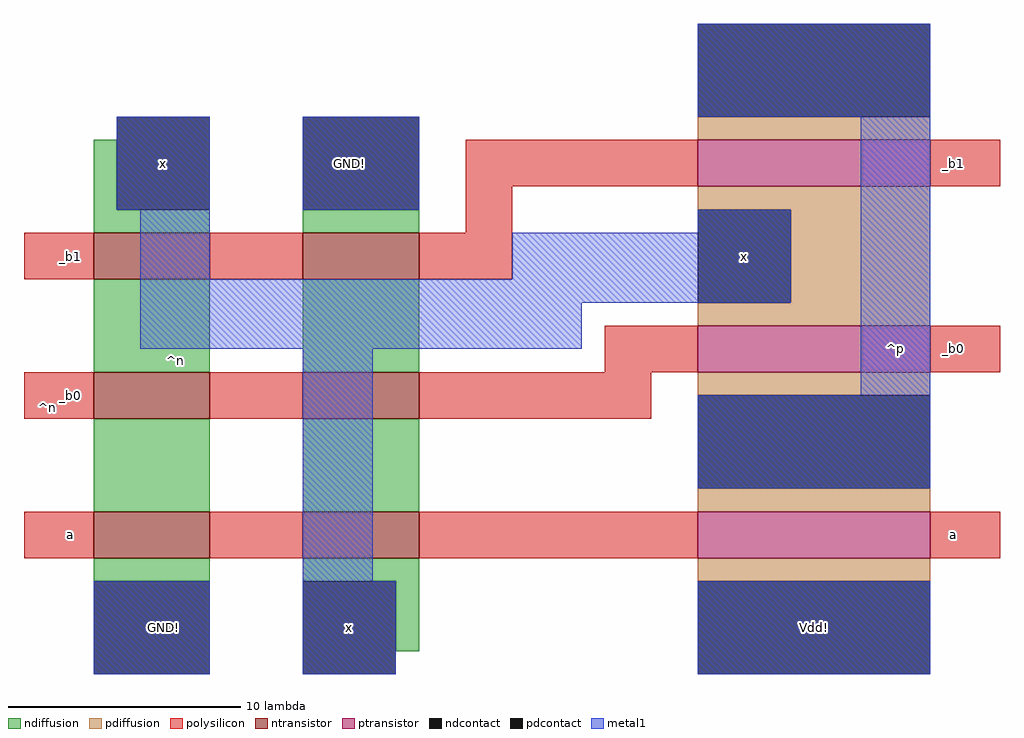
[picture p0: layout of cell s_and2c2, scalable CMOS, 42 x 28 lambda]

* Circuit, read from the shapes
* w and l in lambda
.subckt s_and2c2 GND! Vdd! _b0 _b1 a x
M1 n1 a GND! VSUBS nfet w=5 l=2
M2 n2 _b0 n1 VSUBS nfet w=5 l=2
M3 x _b1 n2 VSUBS nfet w=5 l=2
M4 n3 a x VSUBS nfet w=5 l=2
M5 n4 _b0 n3 VSUBS nfet w=5 l=2
M6 GND! _b1 n4 VSUBS nfet w=5 l=2
M7 n5 a Vdd! NWELL pfet w=10 l=2
M8 x _b0 n5 NWELL pfet w=10 l=2
M9 n5 _b1 x NWELL pfet w=10 l=2
.ends

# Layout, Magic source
magic
tech scmos
<< ndiffusion >>
rect -58 593 -57 596
rect -58 592 -53 593
rect -49 592 -44 593
rect -58 586 -53 590
rect -49 586 -44 590
rect -58 580 -53 584
rect -49 580 -44 584
rect -58 577 -53 578
rect -49 577 -44 578
rect -45 574 -44 577
<< pdiffusion >>
rect -32 596 -22 597
rect -32 593 -22 594
rect -28 589 -22 593
rect -32 588 -22 589
rect -32 585 -22 586
rect -32 580 -22 581
rect -32 577 -22 578
<< ntransistor >>
rect -58 590 -53 592
rect -49 590 -44 592
rect -58 584 -53 586
rect -49 584 -44 586
rect -58 578 -53 580
rect -49 578 -44 580
<< ptransistor >>
rect -32 594 -22 596
rect -32 586 -22 588
rect -32 578 -22 580
<< polysilicon >>
rect -42 594 -32 596
rect -22 594 -19 596
rect -42 592 -40 594
rect -61 590 -58 592
rect -53 590 -49 592
rect -44 590 -40 592
rect -36 586 -32 588
rect -22 586 -19 588
rect -61 584 -58 586
rect -53 584 -49 586
rect -44 584 -34 586
rect -61 578 -58 580
rect -53 578 -49 580
rect -44 578 -32 580
rect -22 578 -19 580
<< ndcontact >>
rect -57 593 -53 597
rect -49 593 -44 597
rect -58 573 -53 577
rect -49 573 -45 577
<< pdcontact >>
rect -32 597 -22 601
rect -32 589 -28 593
rect -32 581 -22 585
rect -32 573 -22 577
<< metal1 >>
rect -32 597 -22 601
rect -57 593 -53 597
rect -49 593 -44 597
rect -56 590 -53 593
rect -32 592 -28 593
rect -40 590 -28 592
rect -56 589 -28 590
rect -56 587 -37 589
rect -49 577 -46 587
rect -25 585 -22 597
rect -32 581 -22 585
rect -58 573 -53 577
rect -49 573 -45 577
rect -32 573 -22 577
<< labels >>
rlabel polysilicon -21 579 -21 579 3 a
rlabel polysilicon -21 587 -21 587 7 _b0
rlabel polysilicon -21 595 -21 595 7 _b1
rlabel space -29 572 -18 602 3 ^p
rlabel space -64 572 -45 601 7 ^n
rlabel space -62 573 -58 596 7 ^n
rlabel polysilicon -59 591 -59 591 7 _b1
rlabel polysilicon -59 585 -59 585 7 _b0
rlabel polysilicon -59 579 -59 579 3 a
rlabel pdcontact -27 575 -27 575 5 Vdd!
rlabel pdcontact -30 591 -30 591 4 x
rlabel ndcontact -55 575 -55 575 2 GND!
rlabel ndcontact -47 575 -47 575 1 x
rlabel ndcontact -55 595 -55 595 5 x
rlabel ndcontact -47 595 -47 595 6 GND!
<< end >>
